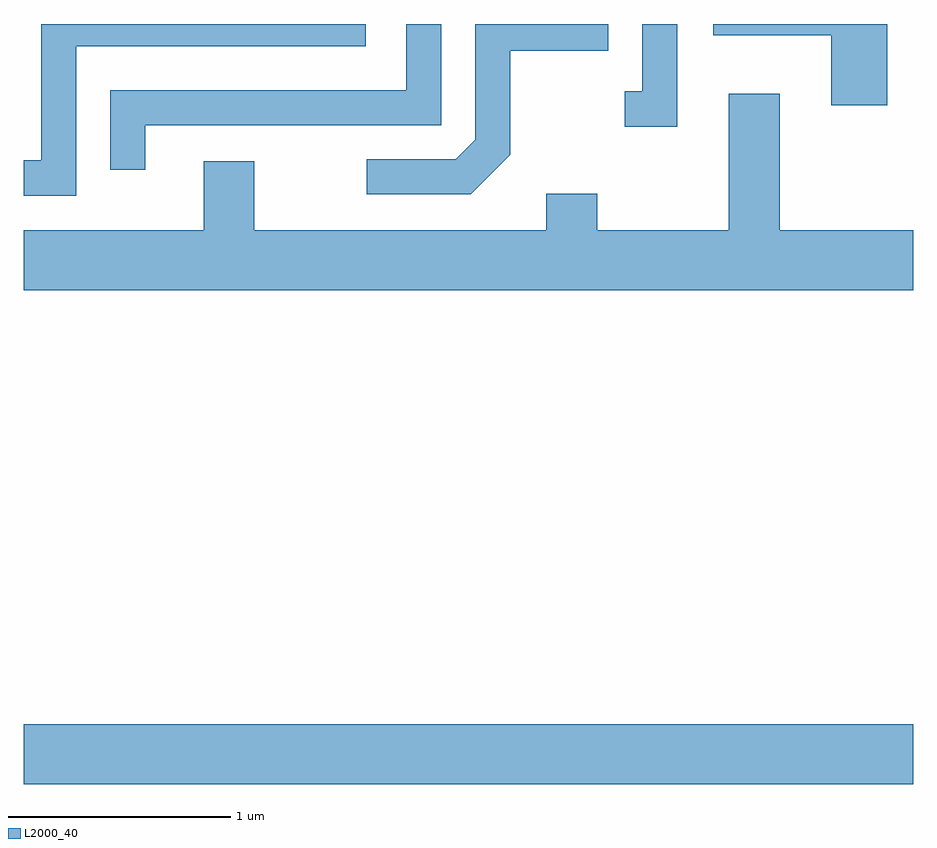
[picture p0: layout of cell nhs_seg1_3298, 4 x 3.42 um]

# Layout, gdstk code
import gdstk
lib = gdstk.Library(unit=1e-6, precision=1e-09)
def R(c, l, rs):  # rectangles x0, y0, x1, y1
    for r in rs: c.add(gdstk.rectangle(r[:2], r[2:], *l))
def P(c, l, *ps):  # polygons
    for p in ps: c.add(gdstk.Polygon(p, *l))
L2000_40 = (2000, 40)

nhs_seg1_3298 = lib.new_cell('nhs_seg1_3298')
R(nhs_seg1_3298, L2000_40, [(285.611,846.296,289.611,846.564)])
P(nhs_seg1_3298, L2000_40, [(287.799,849.124),(287.799,849.591),(288.239,849.591),(288.239,849.712),(287.641,849.712),(287.641,849.192),(287.554,849.104),(287.153,849.104),(287.153,848.946),(287.622,848.946)],
  [(286.159,849.256),(287.489,849.256),(287.489,849.712),(287.331,849.712),(287.331,849.414),(286.001,849.414),(286.001,849.058),(286.159,849.058)],
  [(289.494,849.712),(288.711,849.712),(288.711,849.661),(289.241,849.661),(289.241,849.346),(289.494,849.346)],
  [(288.549,849.712),(288.391,849.712),(288.391,849.409),(288.313,849.409),(288.313,849.251),(288.549,849.251)],
  [(285.849,849.611),(287.149,849.611),(287.149,849.712),(285.691,849.712),(285.691,849.099),(285.611,849.099),(285.611,848.941),(285.849,848.941)],
  [(289.611,848.784),(289.009,848.784),(289.009,849.399),(288.781,849.399),(288.781,848.784),(288.189,848.784),(288.189,848.949),(287.961,848.949),(287.961,848.784),(286.649,848.784),(286.649,849.094),(286.421,849.094),(286.421,848.784),(285.611,848.784),(285.611,848.516),(289.611,848.516)])

lib.write_gds('nhs_seg1_3298.gds')
